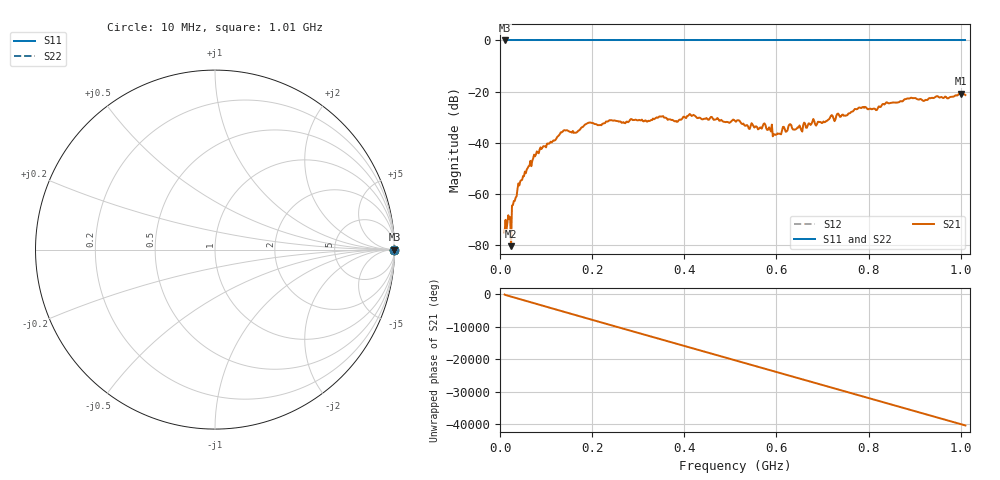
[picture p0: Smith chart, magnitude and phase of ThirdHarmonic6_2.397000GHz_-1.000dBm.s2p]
! 8/17/2025 3:55:48 AM
! C:\ANRITSUVNA\TEMP\TEMP.S2P
! CHANNEL.1
! TR.MEASUREMENT
! RAW.DATA
! RF.CORRECTION.OFF
! AVERAGING.OFF
! IF.BANDWIDTH: 5KHZ
! SWEEPTYPE:  FREQ.SWEEP(Linear)
! Reference Plane Port Info
! PORT:  PORT1  PORT2
! DISTANCE:  0  m  0  m
! TIME:  0  s  0  s
! PHASE.OFFSET:  0  deg.  0  deg.
! LOSS:  0  dB  0  dB
! REF.LOSS:  0  dB  0  dB
! REF.FREQ:  0  Hz  0  Hz
! Power Info
! POWER:  -20  dBm  -20  dBm
! EFF.POWER:  -20  dBm  -20  dBm
! SOURCE.ATTEN:  0  dB  0  dB
! TEST.ATTEN:  0  dB  0  dB
# GHZ S RI R 50.0
! FREQ.GHZ  S11RE  S11IM  S21RE  S21IM  S12RE  S12IM  S22RE  S22IM
!; PortSelection: Port_12
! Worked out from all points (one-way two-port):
!   501 points, 10 MHz to 1.01 GHz, reference 50 ohm
!   highest |S21| = -20.82 dB at 1 GHz (marker M1); lowest = -80.6 dB at 24 MHz (marker M2)
!   lowest |S11| = 0.0 dB at 10 MHz (marker M3)
!   |S11| at or under -10 dB: nowhere
!   |S22| runs from 0.0 to 0.0 dB; largest |S21 - S12| = 1.1
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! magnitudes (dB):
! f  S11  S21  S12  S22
! 10 MHz  0.0  -75.2  0.0  0.0
! 24 MHz  0.0  -80.6  0.0  0.0
! 28 MHz  0.0  -64.5  0.0  0.0
! 30 MHz  0.0  -62.9  0.0  0.0
! 42 MHz  0.0  -56.8  0.0  0.0
! 78 MHz  0.0  -44.6  0.0  0.0
! 136 MHz  0.0  -35.7  0.0  0.0
! 164 MHz  0.0  -36.2  0.0  0.0
! 178 MHz  0.0  -34.0  0.0  0.0
! 194 MHz  0.0  -32.2  0.0  0.0
! 344 MHz  0.0  -30.1  0.0  0.0
! 416 MHz  0.0  -29.6  0.0  0.0
! 510 MHz  0.0  -31.5  0.0  0.0
! 538 MHz  0.0  -33.5  0.0  0.0
! 574 MHz  0.0  -32.5  0.0  0.0
! 596 MHz  0.0  -36.8  0.0  0.0
! 630 MHz  0.0  -32.8  0.0  0.0
! 652 MHz  0.0  -34.3  0.0  0.0
! 678 MHz  0.0  -31.8  0.0  0.0
! 844 MHz  0.0  -24.7  0.0  0.0
! 1 GHz  0.0  -20.8  0.0  0.0
! 1.01 GHz  0.0  -21.4  0.0  0.0
